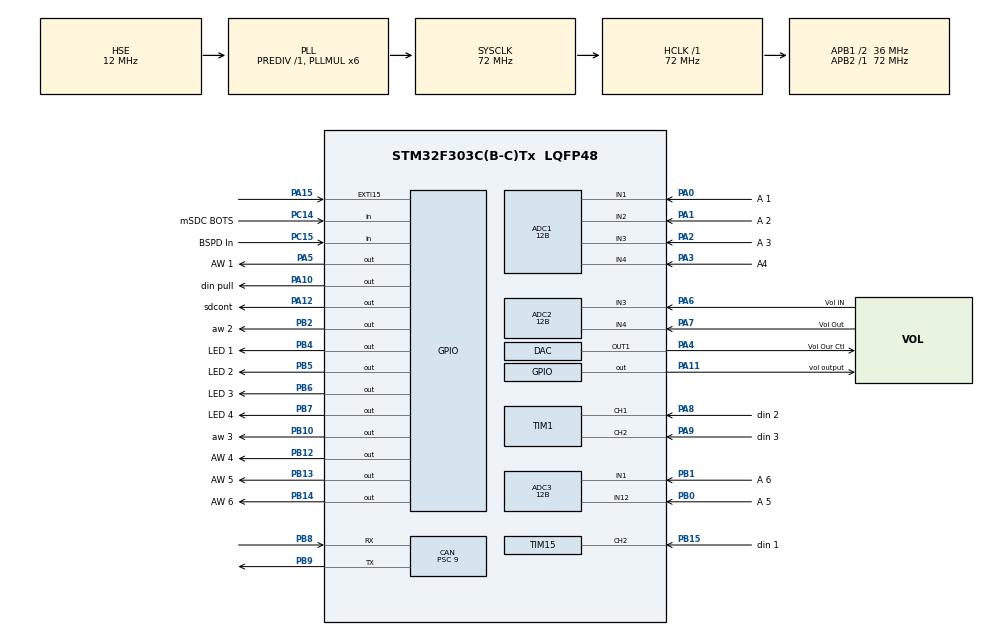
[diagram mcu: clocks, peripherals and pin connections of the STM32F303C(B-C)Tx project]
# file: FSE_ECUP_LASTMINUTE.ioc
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ADC1.Channel-0\#ChannelRegularConversion=ADC_CHANNEL_1
ADC1.Channel-16\#ChannelRegularConversion=ADC_CHANNEL_2
ADC1.Channel-17\#ChannelRegularConversion=ADC_CHANNEL_3
ADC1.Channel-18\#ChannelRegularConversion=ADC_CHANNEL_4
ADC1.Channel-19\#ChannelRegularConversion=ADC_CHANNEL_TEMPSENSOR
ADC1.Channel-20\#ChannelRegularConversion=ADC_CHANNEL_VREFINT
ADC1.ClockPrescaler=ADC_CLOCK_ASYNC_DIV1
ADC1.ContinuousConvMode=DISABLE
ADC1.DMAContinuousRequests=DISABLE
ADC1.DataAlign=ADC_DATAALIGN_RIGHT
ADC1.DiscontinuousConvMode=DISABLE
ADC1.EOCSelection=ADC_EOC_SINGLE_CONV
ADC1.EnableAnalogWatchDog1=false
ADC1.EnableAnalogWatchDog2=false
ADC1.EnableAnalogWatchDog3=false
ADC1.EnableInjectedConversion=ENABLE
ADC1.EnableRegularConversion=ENABLE
ADC1.ExternalTrigConv=ADC_SOFTWARE_START
ADC1.ExternalTrigConvEdge=ADC_EXTERNALTRIGCONVEDGE_NONE
ADC1.InjNumberOfConversion=0
ADC1.LowPowerAutoWait=DISABLE
ADC1.NbrOfConversion=6
ADC1.NbrOfConversionFlag=1
ADC1.Offset-0\#ChannelRegularConversion=0
ADC1.Offset-16\#ChannelRegularConversion=0
ADC1.Offset-17\#ChannelRegularConversion=0
ADC1.Offset-18\#ChannelRegularConversion=0
ADC1.Offset-19\#ChannelRegularConversion=0
ADC1.Offset-20\#ChannelRegularConversion=0
ADC1.OffsetNumber-0\#ChannelRegularConversion=ADC_OFFSET_NONE
ADC1.OffsetNumber-16\#ChannelRegularConversion=ADC_OFFSET_NONE
ADC1.OffsetNumber-17\#ChannelRegularConversion=ADC_OFFSET_NONE
ADC1.OffsetNumber-18\#ChannelRegularConversion=ADC_OFFSET_NONE
ADC1.OffsetNumber-19\#ChannelRegularConversion=ADC_OFFSET_NONE
ADC1.OffsetNumber-20\#ChannelRegularConversion=ADC_OFFSET_NONE
ADC1.Overrun=ADC_OVR_DATA_OVERWRITTEN
ADC1.Rank-0\#ChannelRegularConversion=1
ADC1.Rank-16\#ChannelRegularConversion=2
ADC1.Rank-17\#ChannelRegularConversion=3
ADC1.Rank-18\#ChannelRegularConversion=4
ADC1.Rank-19\#ChannelRegularConversion=5
ADC1.Rank-20\#ChannelRegularConversion=6
ADC1.Resolution=ADC_RESOLUTION_12B
ADC1.SamplingTime-0\#ChannelRegularConversion=ADC_SAMPLETIME_61CYCLES_5
ADC1.SamplingTime-16\#ChannelRegularConversion=ADC_SAMPLETIME_61CYCLES_5
ADC1.SamplingTime-17\#ChannelRegularConversion=ADC_SAMPLETIME_61CYCLES_5
ADC1.SamplingTime-18\#ChannelRegularConversion=ADC_SAMPLETIME_61CYCLES_5
ADC1.SamplingTime-19\#ChannelRegularConversion=ADC_SAMPLETIME_61CYCLES_5
ADC1.SamplingTime-20\#ChannelRegularConversion=ADC_SAMPLETIME_61CYCLES_5
ADC1.ScanConvMode=ADC_SCAN_ENABLE
ADC1.master=1
ADC2.Channel-0\#ChannelRegularConversion=ADC_CHANNEL_3
ADC2.Channel-1\#ChannelRegularConversion=ADC_CHANNEL_4
ADC2.ClockPrescaler=ADC_CLOCK_ASYNC_DIV1
ADC2.ContinuousConvMode=DISABLE
ADC2.DMAContinuousRequests=DISABLE
ADC2.DataAlign=ADC_DATAALIGN_RIGHT
ADC2.DiscontinuousConvMode=DISABLE
ADC2.EOCSelection=ADC_EOC_SINGLE_CONV
ADC2.EnableAnalogWatchDog1=false
ADC2.EnableAnalogWatchDog2=false
ADC2.EnableAnalogWatchDog3=false
ADC2.EnableInjectedConversion=ENABLE
ADC2.EnableRegularConversion=ENABLE
ADC2.ExternalTrigConv=ADC_SOFTWARE_START
ADC2.ExternalTrigConvEdge=ADC_EXTERNALTRIGCONVEDGE_NONE
ADC2.InjNumberOfConversion=0
ADC2.LowPowerAutoWait=DISABLE
ADC2.NbrOfConversion=2
ADC2.NbrOfConversionFlag=1
ADC2.Offset-0\#ChannelRegularConversion=0
ADC2.Offset-1\#ChannelRegularConversion=0
ADC2.OffsetNumber-0\#ChannelRegularConversion=ADC_OFFSET_NONE
ADC2.OffsetNumber-1\#ChannelRegularConversion=ADC_OFFSET_NONE
ADC2.Overrun=ADC_OVR_DATA_OVERWRITTEN
ADC2.Rank-0\#ChannelRegularConversion=1
ADC2.Rank-1\#ChannelRegularConversion=2
ADC2.Resolution=ADC_RESOLUTION_12B
ADC2.SamplingTime-0\#ChannelRegularConversion=ADC_SAMPLETIME_61CYCLES_5
ADC2.SamplingTime-1\#ChannelRegularConversion=ADC_SAMPLETIME_61CYCLES_5
ADC2.ScanConvMode=ADC_SCAN_ENABLE
ADC3.Channel-0\#ChannelRegularConversion=ADC_CHANNEL_1
ADC3.Channel-1\#ChannelRegularConversion=ADC_CHANNEL_12
ADC3.ClockPrescaler=ADC_CLOCK_ASYNC_DIV1
ADC3.ContinuousConvMode=DISABLE
ADC3.DMAContinuousRequests=DISABLE
ADC3.DataAlign=ADC_DATAALIGN_RIGHT
ADC3.DiscontinuousConvMode=DISABLE
ADC3.EOCSelection=ADC_EOC_SINGLE_CONV
ADC3.EnableAnalogWatchDog1=false
ADC3.EnableAnalogWatchDog2=false
ADC3.EnableAnalogWatchDog3=false
ADC3.EnableInjectedConversion=ENABLE
ADC3.EnableRegularConversion=ENABLE
ADC3.ExternalTrigConv=ADC_SOFTWARE_START
ADC3.ExternalTrigConvEdge=ADC_EXTERNALTRIGCONVEDGE_NONE
ADC3.InjNumberOfConversion=0
ADC3.LowPowerAutoWait=DISABLE
ADC3.NbrOfConversion=2
ADC3.NbrOfConversionFlag=1
ADC3.Offset-0\#ChannelRegularConversion=0
ADC3.Offset-1\#ChannelRegularConversion=0
ADC3.OffsetNumber-0\#ChannelRegularConversion=ADC_OFFSET_NONE
ADC3.OffsetNumber-1\#ChannelRegularConversion=ADC_OFFSET_NONE
ADC3.Overrun=ADC_OVR_DATA_OVERWRITTEN
ADC3.Rank-0\#ChannelRegularConversion=1
ADC3.Rank-1\#ChannelRegularConversion=2
ADC3.Resolution=ADC_RESOLUTION_12B
ADC3.SamplingTime-0\#ChannelRegularConversion=ADC_SAMPLETIME_61CYCLES_5
ADC3.SamplingTime-1\#ChannelRegularConversion=ADC_SAMPLETIME_61CYCLES_5
ADC3.ScanConvMode=ADC_SCAN_ENABLE
ADC3.master=1
CAN.ABOM=ENABLE
CAN.BS1=CAN_BS1_6TQ
CAN.CalculateTimeBit=2500
CAN.CalculateTimeQuantum=250.0
CAN.Prescaler=9
Dma.ADC1.1.Direction=DMA_PERIPH_TO_MEMORY
Dma.ADC1.1.Instance=DMA1_Channel1
Dma.ADC1.1.MemDataAlignment=DMA_MDATAALIGN_HALFWORD
Dma.ADC1.1.MemInc=DMA_MINC_ENABLE
Dma.ADC1.1.Mode=DMA_CIRCULAR
Dma.ADC1.1.PeriphDataAlignment=DMA_PDATAALIGN_HALFWORD
Dma.ADC1.1.PeriphInc=DMA_PINC_DISABLE
Dma.ADC1.1.Priority=DMA_PRIORITY_HIGH
Dma.ADC2.2.Direction=DMA_PERIPH_TO_MEMORY
Dma.ADC2.2.Instance=DMA2_Channel1
Dma.ADC2.2.MemDataAlignment=DMA_MDATAALIGN_HALFWORD
Dma.ADC2.2.MemInc=DMA_MINC_ENABLE
Dma.ADC2.2.Mode=DMA_CIRCULAR
Dma.ADC2.2.PeriphDataAlignment=DMA_PDATAALIGN_HALFWORD
Dma.ADC2.2.PeriphInc=DMA_PINC_DISABLE
Dma.ADC2.2.Priority=DMA_PRIORITY_HIGH
Dma.ADC3.0.Direction=DMA_PERIPH_TO_MEMORY
Dma.ADC3.0.Instance=DMA2_Channel5
Dma.ADC3.0.MemDataAlignment=DMA_MDATAALIGN_HALFWORD
Dma.ADC3.0.MemInc=DMA_MINC_ENABLE
Dma.ADC3.0.Mode=DMA_CIRCULAR
Dma.ADC3.0.PeriphDataAlignment=DMA_PDATAALIGN_HALFWORD
Dma.ADC3.0.PeriphInc=DMA_PINC_DISABLE
Dma.ADC3.0.Priority=DMA_PRIORITY_HIGH
Dma.Request0=ADC3
Dma.Request1=ADC1
Dma.Request2=ADC2
Mcu.Family=STM32F3
Mcu.Name=STM32F303C(B-C)Tx
Mcu.Package=LQFP48
NVIC.CAN_RX1_IRQn=true\:0\:0\:false\:false\:true\:true
NVIC.CAN_SCE_IRQn=true\:0\:0\:false\:false\:true\:true
NVIC.DMA1_Channel1_IRQn=true\:0\:0\:false\:false\:true\:false
NVIC.DMA2_Channel1_IRQn=true\:0\:0\:false\:false\:true\:false
NVIC.DMA2_Channel5_IRQn=true\:0\:0\:false\:false\:true\:false
NVIC.EXTI15_10_IRQn=true\:0\:0\:false\:false\:true\:true
NVIC.PriorityGroup=NVIC_PRIORITYGROUP_4
NVIC.USB_HP_CAN_TX_IRQn=true\:0\:0\:false\:false\:true\:true
NVIC.USB_LP_CAN_RX0_IRQn=true\:0\:0\:false\:false\:true\:true
PA0.GPIO_Label=A 1
PA0.Mode=IN1-Single-Ended
PA0.Signal=ADC1_IN1
PA1.GPIO_Label=A 2
PA1.Mode=IN2-Single-Ended
PA1.Signal=ADC1_IN2
PA10.GPIO_Label=din pull
PA10.Signal=GPIO_Output
PA11.GPIO_Label=vol output
PA11.Signal=GPIO_Output
PA12.GPIO_Label=sdcont
PA12.Signal=GPIO_Output
PA13.Mode=Trace_Asynchronous_SW
PA13.Signal=SYS_JTMS-SWDIO
PA14.Mode=Trace_Asynchronous_SW
PA14.Signal=SYS_JTCK-SWCLK
PA15.GPIO_ModeDefaultEXTI=GPIO_MODE_IT_RISING_FALLING
PA15.Signal=GPXTI15
PA2.GPIO_Label=A 3
PA2.Mode=IN3-Single-Ended
PA2.Signal=ADC1_IN3
PA3.GPIO_Label=A4
PA3.Mode=IN4-Single-Ended
PA3.Signal=ADC1_IN4
PA4.GPIO_Label=Vol Our Ctl
PA4.Signal=COMP_DAC1_group
PA5.GPIO_Label=AW 1
PA5.Signal=GPIO_Output
PA6.GPIO_Label=Vol IN
PA6.Mode=IN3-Single-Ended
PA6.Signal=ADC2_IN3
PA7.GPIO_Label=Vol Out
PA7.Mode=IN4-Single-Ended
PA7.Signal=ADC2_IN4
PA8.GPIO_Label=din 2
PA8.GPIO_Speed=GPIO_SPEED_FREQ_LOW
PA8.Signal=S_TIM1_CH1
PA9.GPIO_Label=din 3
PA9.Signal=S_TIM1_CH2
PB0.GPIO_Label=A 5
PB0.Mode=IN12-Single-Ended
PB0.Signal=ADC3_IN12
PB1.GPIO_Label=A 6
PB1.Mode=IN1-Single-Ended
PB1.Signal=ADC3_IN1
PB10.GPIO_Label=aw 3
PB10.Signal=GPIO_Output
PB12.GPIO_Label=AW 4
PB12.Signal=GPIO_Output
PB13.GPIO_Label=AW 5
PB13.Signal=GPIO_Output
PB14.GPIO_Label=AW 6
PB14.Signal=GPIO_Output
PB15.GPIO_Label=din 1
PB15.Signal=S_TIM15_CH2
PB2.GPIO_Label=aw 2
PB2.Signal=GPIO_Output
PB3.GPIO_Label=SWO
PB3.Mode=Trace_Asynchronous_SW
PB3.Signal=SYS_JTDO-TRACESWO
PB4.GPIO_Label=LED 1
PB4.Signal=GPIO_Output
PB5.GPIO_Label=LED 2
PB5.Signal=GPIO_Output
PB6.GPIO_Label=LED 3
PB6.Signal=GPIO_Output
PB7.GPIO_Label=LED 4
PB7.Signal=GPIO_Output
PB8.Mode=Master
PB8.Signal=CAN_RX
PB9.Mode=Master
PB9.Signal=CAN_TX
PC14-OSC32_IN.GPIO_Label=mSDC BOTS
PC14-OSC32_IN.Signal=GPIO_Input
PC15-OSC32_OUT.GPIO_Label=BSPD In
PC15-OSC32_OUT.Signal=GPIO_Input
PF0-OSC_IN.Mode=HSE-External-Oscillator
PF0-OSC_IN.Signal=RCC_OSC_IN
PF1-OSC_OUT.Mode=HSE-External-Oscillator
PF1-OSC_OUT.Signal=RCC_OSC_OUT
ProjectManager.HeapSize=0x200
ProjectManager.StackSize=0x400
ProjectManager.TargetToolchain=MDK-ARM V5
RCC.AHBFreq_Value=72000000
RCC.APB1CLKDivider=RCC_HCLK_DIV2
RCC.APB1Freq_Value=36000000
RCC.APB1TimFreq_Value=72000000
RCC.APB2Freq_Value=72000000
RCC.APB2TimFreq_Value=72000000
RCC.CortexFreq_Value=72000000
RCC.HCLKFreq_Value=72000000
RCC.HSE_VALUE=12000000
RCC.HSI_VALUE=8000000
RCC.LSE_VALUE=32768
RCC.PLLMUL=RCC_PLL_MUL6
RCC.PLLSourceVirtual=RCC_PLLSOURCE_HSE
RCC.SYSCLKFreq_VALUE=72000000
RCC.SYSCLKSourceVirtual=RCC_SYSCLKSOURCE_PLLCLK
RCC.USBFreq_Value=72000000
SH.COMP_DAC1_group.0=DAC_OUT1,DAC_OUT1
SH.S_TIM15_CH2.0=TIM15_CH2,Input_Capture2_from_TI2
SH.S_TIM15_CH2.1=TIM15_CH2,Input_Capture1_from_TI2
SH.S_TIM15_CH2.2=TIM15_CH2,TriggerSource_TI2FP2
SH.S_TIM1_CH1.0=TIM1_CH1,Input_Capture1_from_TI1
SH.S_TIM1_CH1.1=TIM1_CH1,TriggerSource_TI1FP1
SH.S_TIM1_CH2.0=TIM1_CH2,Input_Capture2_from_TI2
TIM1.Channel-Input_Capture1_from_TI1=TIM_CHANNEL_1
TIM1.Channel-Input_Capture2_from_TI2=TIM_CHANNEL_2
TIM15.Channel-Input_Capture1_from_TI2=TIM_CHANNEL_1
TIM15.Channel-Input_Capture2_from_TI2=TIM_CHANNEL_2
TIM16.Period=0xFFFF
TIM16.Prescaler=8
VP_ADC1_TempSens_Input.Mode=IN-TempSens
VP_ADC1_Vref_Input.Mode=IN-Vrefint
VP_TIM15_VS_ClockSourceINT.Mode=Internal
VP_TIM15_VS_ControllerModeReset.Mode=Reset Mode
VP_TIM16_VS_ClockSourceINT.Mode=Enable_Timer
VP_TIM1_VS_ClockSourceINT.Mode=Internal
VP_TIM1_VS_ControllerModeReset.Mode=Reset Mode
VP_TIM2_VS_ClockSourceINT.Mode=Internal
board=custom

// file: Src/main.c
/**
  ******************************************************************************
  * @file           : main.c
  * @brief          : Main program body
  ******************************************************************************
  ** This notice applies to any and all portions of this file
  * that are not between comment pairs USER CODE BEGIN and
  * USER CODE END. Other portions of this file, whether
  * inserted by the user or by software development tools
  * are owned by their respective copyright owners.
  *
  * COPYRIGHT(c) 2018 STMicroelectronics
  *
  * Redistribution and use in source and binary forms, with or without modification,
  * are permitted provided that the following conditions are met:
  *   1. Redistributions of source code must retain the above copyright notice,
  *      this list of conditions and the following disclaimer.
  *   2. Redistributions in binary form must reproduce the above copyright notice,
  *      this list of conditions and the following disclaimer in the documentation
  *      and/or other materials provided with the distribution.
  *   3. Neither the name of STMicroelectronics nor the names of its contributors
  *      may be used to endorse or promote products derived from this software
  *      without specific prior written permission.
  *
  * THIS SOFTWARE IS PROVIDED BY THE COPYRIGHT HOLDERS AND CONTRIBUTORS "AS IS"
  * AND ANY EXPRESS OR IMPLIED WARRANTIES, INCLUDING, BUT NOT LIMITED TO, THE
  * IMPLIED WARRANTIES OF MERCHANTABILITY AND FITNESS FOR A PARTICULAR PURPOSE ARE
  * DISCLAIMED. IN NO EVENT SHALL THE COPYRIGHT HOLDER OR CONTRIBUTORS BE LIABLE
  * FOR ANY DIRECT, INDIRECT, INCIDENTAL, SPECIAL, EXEMPLARY, OR CONSEQUENTIAL
  * DAMAGES (INCLUDING, BUT NOT LIMITED TO, PROCUREMENT OF SUBSTITUTE GOODS OR
  * SERVICES; LOSS OF USE, DATA, OR PROFITS; OR BUSINESS INTERRUPTION) HOWEVER
  * CAUSED AND ON ANY THEORY OF LIABILITY, WHETHER IN CONTRACT, STRICT LIABILITY,
  * OR TORT (INCLUDING NEGLIGENCE OR OTHERWISE) ARISING IN ANY WAY OUT OF THE USE
  * OF THIS SOFTWARE, EVEN IF ADVISED OF THE POSSIBILITY OF SUCH DAMAGE.
  *
  ******************************************************************************
  */
#include "main.h"
#include "stm32f3xx_hal.h"

/* USER CODE BEGIN Includes */
#include "ADC.h"
#include "can_eforce_init.h"
#include "stm32f3xx_hal_def.h"
/* USER CODE END Includes */

ADC_HandleTypeDef hadc1;
ADC_HandleTypeDef hadc2;
ADC_HandleTypeDef hadc3;
DMA_HandleTypeDef hdma_adc1;
DMA_HandleTypeDef hdma_adc2;
DMA_HandleTypeDef hdma_adc3;

CAN_HandleTypeDef hcan;

DAC_HandleTypeDef hdac;

TIM_HandleTypeDef htim1;
TIM_HandleTypeDef htim2;
TIM_HandleTypeDef htim15;
TIM_HandleTypeDef htim16;

/* USER CODE BEGIN PV */
/* Private variables ---------------------------------------------------------*/
CanRxMsgTypeDef canRxMsg;

/* USER CODE END PV */

void SystemClock_Config(void);
static void MX_GPIO_Init(void);
static void MX_DMA_Init(void);
static void MX_ADC1_Init(void);
static void MX_ADC2_Init(void);
static void MX_ADC3_Init(void);
static void MX_CAN_Init(void);
static void MX_DAC_Init(void);
static void MX_TIM1_Init(void);
static void MX_TIM2_Init(void);
static void MX_TIM15_Init(void);
static void MX_TIM16_Init(void);

/* USER CODE BEGIN PFP */
/* Private function prototypes -----------------------------------------------*/

/* USER CODE END PFP */

/* USER CODE BEGIN 0 */
/*
void HAL_CAN_RxCpltCallback(CAN_HandleTypeDef *hcan){
	HAL_GPIO_TogglePin(LED_1_GPIO_Port,LED_1_Pin);
	txReceiveCANMessage(canRxMsg.StdId,&canRxMsg.Data,canRxMsg.DLC);

	__HAL_CAN_FIFO_RELEASE(hcan,CAN_FIFO0);
	HAL_CAN_Receive_IT(hcan,CAN_FIFO0);
}
*/
/* USER CODE END 0 */

int main(void)
{

  /* MCU Configuration----------------------------------------------------------*/

  /* Reset of all peripherals, Initializes the Flash interface and the Systick. */
  HAL_Init();

  /* Configure the system clock */
  SystemClock_Config();

  /* Initialize all configured peripherals */
  MX_GPIO_Init();
  MX_DMA_Init();
  MX_ADC1_Init();
  MX_ADC2_Init();
  MX_ADC3_Init();
  MX_CAN_Init();
  MX_DAC_Init();
  MX_TIM1_Init();
  MX_TIM2_Init();
  MX_TIM15_Init();
  MX_TIM16_Init();
  /* USER CODE BEGIN 2 */
	CAN_eforce(&hcan,CAN,&canRxMsg);
	calib_init();
	HAL_GPIO_WritePin(sdcont_GPIO_Port,sdcont_Pin,GPIO_PIN_SET);
	txInit();
	candbInit();
  /* USER CODE END 2 */

  /* Infinite loop */
  /* USER CODE BEGIN WHILE */
  while (1)
  {
		/*while (HAL_CAN_Receive(&hcan, CAN_FIFO0,0) == HAL_OK){
		//HAL_GPIO_TogglePin(LED_1_GPIO_Port,LED_1_Pin);
		txReceiveCANMessage(canRxMsg.StdId,&canRxMsg.Data,canRxMsg.DLC);
		}*/
		HAL_CAN_Receive_IT(&hcan,CAN_FIFO0);
		start_ADC(&hadc1,1);
		start_ADC(&hadc2,2);
		start_ADC(&hadc3,3);
		txProcess();
		Pedals_process(&hcan);
  /* USER CODE END WHILE */

  }

}

void SystemClock_Config(void)
{

  RCC_OscInitTypeDef RCC_OscInitStruct;
  RCC_ClkInitTypeDef RCC_ClkInitStruct;
  RCC_PeriphCLKInitTypeDef PeriphClkInit;

    /**Initializes the CPU, AHB and APB busses clocks
    */
  RCC_OscInitStruct.OscillatorType = RCC_OSCILLATORTYPE_HSE;
  RCC_OscInitStruct.HSEState = RCC_HSE_ON;
  RCC_OscInitStruct.HSEPredivValue = RCC_HSE_PREDIV_DIV1;
  RCC_OscInitStruct.HSIState = RCC_HSI_ON;
  RCC_OscInitStruct.PLL.PLLState = RCC_PLL_ON;
  RCC_OscInitStruct.PLL.PLLSource = RCC_PLLSOURCE_HSE;
  RCC_OscInitStruct.PLL.PLLMUL = RCC_PLL_MUL6;
  if (HAL_RCC_OscConfig(&RCC_OscInitStruct) != HAL_OK)
  {
    _Error_Handler(__FILE__, __LINE__);
  }

    /**Initializes the CPU, AHB and APB busses clocks
    */
  RCC_ClkInitStruct.ClockType = RCC_CLOCKTYPE_HCLK|RCC_CLOCKTYPE_SYSCLK
                              |RCC_CLOCKTYPE_PCLK1|RCC_CLOCKTYPE_PCLK2;
  RCC_ClkInitStruct.SYSCLKSource = RCC_SYSCLKSOURCE_PLLCLK;
  RCC_ClkInitStruct.AHBCLKDivider = RCC_SYSCLK_DIV1;
  RCC_ClkInitStruct.APB1CLKDivider = RCC_HCLK_DIV2;
  RCC_ClkInitStruct.APB2CLKDivider = RCC_HCLK_DIV1;

  if (HAL_RCC_ClockConfig(&RCC_ClkInitStruct, FLASH_LATENCY_2) != HAL_OK)
  {
    _Error_Handler(__FILE__, __LINE__);
  }

  PeriphClkInit.PeriphClockSelection = RCC_PERIPHCLK_TIM1|RCC_PERIPHCLK_ADC12
                              |RCC_PERIPHCLK_ADC34;
  PeriphClkInit.Adc12ClockSelection = RCC_ADC12PLLCLK_DIV1;
  PeriphClkInit.Adc34ClockSelection = RCC_ADC34PLLCLK_DIV1;
  PeriphClkInit.Tim1ClockSelection = RCC_TIM1CLK_HCLK;
  if (HAL_RCCEx_PeriphCLKConfig(&PeriphClkInit) != HAL_OK)
  {
    _Error_Handler(__FILE__, __LINE__);
  }

    /**Configure the Systick interrupt time
    */
  HAL_SYSTICK_Config(HAL_RCC_GetHCLKFreq()/1000);

    /**Configure the Systick
    */
  HAL_SYSTICK_CLKSourceConfig(SYSTICK_CLKSOURCE_HCLK);

  /* SysTick_IRQn interrupt configuration */
  HAL_NVIC_SetPriority(SysTick_IRQn, 0, 0);
}

/* ADC1 init function */
static void MX_ADC1_Init(void)
{

  ADC_MultiModeTypeDef multimode;
  ADC_ChannelConfTypeDef sConfig;

    /**Common config
    */
  hadc1.Instance = ADC1;
  hadc1.Init.ClockPrescaler = ADC_CLOCK_ASYNC_DIV1;
  hadc1.Init.Resolution = ADC_RESOLUTION_12B;
  hadc1.Init.ScanConvMode = ADC_SCAN_ENABLE;
  hadc1.Init.ContinuousConvMode = DISABLE;
  hadc1.Init.DiscontinuousConvMode = DISABLE;
  hadc1.Init.ExternalTrigConvEdge = ADC_EXTERNALTRIGCONVEDGE_NONE;
  hadc1.Init.ExternalTrigConv = ADC_SOFTWARE_START;
  hadc1.Init.DataAlign = ADC_DATAALIGN_RIGHT;
  hadc1.Init.NbrOfConversion = 6;
  hadc1.Init.DMAContinuousRequests = DISABLE;
  hadc1.Init.EOCSelection = ADC_EOC_SINGLE_CONV;
  hadc1.Init.LowPowerAutoWait = DISABLE;
  hadc1.Init.Overrun = ADC_OVR_DATA_OVERWRITTEN;
  if (HAL_ADC_Init(&hadc1) != HAL_OK)
  {
    _Error_Handler(__FILE__, __LINE__);
  }

    /**Configure the ADC multi-mode
    */
  multimode.Mode = ADC_MODE_INDEPENDENT;
  if (HAL_ADCEx_MultiModeConfigChannel(&hadc1, &multimode) != HAL_OK)
  {
    _Error_Handler(__FILE__, __LINE__);
  }

    /**Configure Regular Channel
    */
  sConfig.Channel = ADC_CHANNEL_1;
  sConfig.Rank = ADC_REGULAR_RANK_1;
  sConfig.SingleDiff = ADC_SINGLE_ENDED;
  sConfig.SamplingTime = ADC_SAMPLETIME_61CYCLES_5;
  sConfig.OffsetNumber = ADC_OFFSET_NONE;
  sConfig.Offset = 0;
  if (HAL_ADC_ConfigChannel(&hadc1, &sConfig) != HAL_OK)
  {
    _Error_Handler(__FILE__, __LINE__);
  }

    /**Configure Regular Channel
    */
  sConfig.Channel = ADC_CHANNEL_2;
  sConfig.Rank = ADC_REGULAR_RANK_2;
  if (HAL_ADC_ConfigChannel(&hadc1, &sConfig) != HAL_OK)
  {
    _Error_Handler(__FILE__, __LINE__);
  }

    /**Configure Regular Channel
    */
  sConfig.Channel = ADC_CHANNEL_3;
  sConfig.Rank = ADC_REGULAR_RANK_3;
  if (HAL_ADC_ConfigChannel(&hadc1, &sConfig) != HAL_OK)
  {
    _Error_Handler(__FILE__, __LINE__);
  }

    /**Configure Regular Channel
    */
  sConfig.Channel = ADC_CHANNEL_4;
  sConfig.Rank = ADC_REGULAR_RANK_4;
  if (HAL_ADC_ConfigChannel(&hadc1, &sConfig) != HAL_OK)
  {
    _Error_Handler(__FILE__, __LINE__);
  }

    /**Configure Regular Channel
    */
  sConfig.Channel = ADC_CHANNEL_TEMPSENSOR;
  sConfig.Rank = ADC_REGULAR_RANK_5;
  if (HAL_ADC_ConfigChannel(&hadc1, &sConfig) != HAL_OK)
  {
    _Error_Handler(__FILE__, __LINE__);
  }

    /**Configure Regular Channel
    */
  sConfig.Channel = ADC_CHANNEL_VREFINT;
  sConfig.Rank = ADC_REGULAR_RANK_6;
  if (HAL_ADC_ConfigChannel(&hadc1, &sConfig) != HAL_OK)
  {
    _Error_Handler(__FILE__, __LINE__);
  }

}

/* ADC2 init function */
static void MX_ADC2_Init(void)
{

  ADC_ChannelConfTypeDef sConfig;

    /**Common config
    */
  hadc2.Instance = ADC2;
  hadc2.Init.ClockPrescaler = ADC_CLOCK_ASYNC_DIV1;
  hadc2.Init.Resolution = ADC_RESOLUTION_12B;
  hadc2.Init.ScanConvMode = ADC_SCAN_ENABLE;
  hadc2.Init.ContinuousConvMode = DISABLE;
  hadc2.Init.DiscontinuousConvMode = DISABLE;
  hadc2.Init.ExternalTrigConvEdge = ADC_EXTERNALTRIGCONVEDGE_NONE;
  hadc2.Init.ExternalTrigConv = ADC_SOFTWARE_START;
  hadc2.Init.DataAlign = ADC_DATAALIGN_RIGHT;
  hadc2.Init.NbrOfConversion = 2;
  hadc2.Init.DMAContinuousRequests = DISABLE;
  hadc2.Init.EOCSelection = ADC_EOC_SINGLE_CONV;
  hadc2.Init.LowPowerAutoWait = DISABLE;
  hadc2.Init.Overrun = ADC_OVR_DATA_OVERWRITTEN;
  if (HAL_ADC_Init(&hadc2) != HAL_OK)
  {
    _Error_Handler(__FILE__, __LINE__);
  }

    /**Configure Regular Channel
    */
  sConfig.Channel = ADC_CHANNEL_3;
  sConfig.Rank = ADC_REGULAR_RANK_1;
  sConfig.SingleDiff = ADC_SINGLE_ENDED;
  sConfig.SamplingTime = ADC_SAMPLETIME_61CYCLES_5;
  sConfig.OffsetNumber = ADC_OFFSET_NONE;
  sConfig.Offset = 0;
  if (HAL_ADC_ConfigChannel(&hadc2, &sConfig) != HAL_OK)
  {
    _Error_Handler(__FILE__, __LINE__);
  }

    /**Configure Regular Channel
    */
  sConfig.Channel = ADC_CHANNEL_4;
  sConfig.Rank = ADC_REGULAR_RANK_2;
  if (HAL_ADC_ConfigChannel(&hadc2, &sConfig) != HAL_OK)
  {
    _Error_Handler(__FILE__, __LINE__);
  }

}

/* ADC3 init function */
static void MX_ADC3_Init(void)
{

  ADC_MultiModeTypeDef multimode;
  ADC_ChannelConfTypeDef sConfig;

    /**Common config
    */
  hadc3.Instance = ADC3;
  hadc3.Init.ClockPrescaler = ADC_CLOCK_ASYNC_DIV1;
  hadc3.Init.Resolution = ADC_RESOLUTION_12B;
  hadc3.Init.ScanConvMode = ADC_SCAN_ENABLE;
  hadc3.Init.ContinuousConvMode = DISABLE;
  hadc3.Init.DiscontinuousConvMode = DISABLE;
  hadc3.Init.ExternalTrigConvEdge = ADC_EXTERNALTRIGCONVEDGE_NONE;
  hadc3.Init.ExternalTrigConv = ADC_SOFTWARE_START;
  hadc3.Init.DataAlign = ADC_DATAALIGN_RIGHT;
  hadc3.Init.NbrOfConversion = 2;
  hadc3.Init.DMAContinuousRequests = DISABLE;
  hadc3.Init.EOCSelection = ADC_EOC_SINGLE_CONV;
  hadc3.Init.LowPowerAutoWait = DISABLE;
  hadc3.Init.Overrun = ADC_OVR_DATA_OVERWRITTEN;
  if (HAL_ADC_Init(&hadc3) != HAL_OK)
  {
    _Error_Handler(__FILE__, __LINE__);
  }

    /**Configure the ADC multi-mode
    */
  multimode.Mode = ADC_MODE_INDEPENDENT;
  if (HAL_ADCEx_MultiModeConfigChannel(&hadc3, &multimode) != HAL_OK)
  {
    _Error_Handler(__FILE__, __LINE__);
  }

    /**Configure Regular Channel
    */
  sConfig.Channel = ADC_CHANNEL_1;
  sConfig.Rank = ADC_REGULAR_RANK_1;
  sConfig.SingleDiff = ADC_SINGLE_ENDED;
  sConfig.SamplingTime = ADC_SAMPLETIME_61CYCLES_5;
  sConfig.OffsetNumber = ADC_OFFSET_NONE;
  sConfig.Offset = 0;
  if (HAL_ADC_ConfigChannel(&hadc3, &sConfig) != HAL_OK)
  {
    _Error_Handler(__FILE__, __LINE__);
  }

    /**Configure Regular Channel
    */
  sConfig.Channel = ADC_CHANNEL_12;
  sConfig.Rank = ADC_REGULAR_RANK_2;
  if (HAL_ADC_ConfigChannel(&hadc3, &sConfig) != HAL_OK)
  {
    _Error_Handler(__FILE__, __LINE__);
  }

}

/* CAN init function */
static void MX_CAN_Init(void)
{

  hcan.Instance = CAN;
  hcan.Init.Prescaler = 9;
  hcan.Init.Mode = CAN_MODE_NORMAL;
  hcan.Init.SJW = CAN_SJW_1TQ;
  hcan.Init.BS1 = CAN_BS1_6TQ;
  hcan.Init.BS2 = CAN_BS2_1TQ;
  hcan.Init.TTCM = DISABLE;
  hcan.Init.ABOM = ENABLE;
  hcan.Init.AWUM = DISABLE;
  hcan.Init.NART = DISABLE;
  hcan.Init.RFLM = DISABLE;
  hcan.Init.TXFP = DISABLE;
  if (HAL_CAN_Init(&hcan) != HAL_OK)
  {
    _Error_Handler(__FILE__, __LINE__);
  }

}

/* DAC init function */
static void MX_DAC_Init(void)
{

  DAC_ChannelConfTypeDef sConfig;

    /**DAC Initialization
    */
  hdac.Instance = DAC;
  if (HAL_DAC_Init(&hdac) != HAL_OK)
  {
    _Error_Handler(__FILE__, __LINE__);
  }

    /**DAC channel OUT1 config
    */
  sConfig.DAC_Trigger = DAC_TRIGGER_NONE;
  sConfig.DAC_OutputBuffer = DAC_OUTPUTBUFFER_ENABLE;
  if (HAL_DAC_ConfigChannel(&hdac, &sConfig, DAC_CHANNEL_1) != HAL_OK)
  {
    _Error_Handler(__FILE__, __LINE__);
  }

}

/* TIM1 init function */
static void MX_TIM1_Init(void)
{

  TIM_ClockConfigTypeDef sClockSourceConfig;
  TIM_SlaveConfigTypeDef sSlaveConfig;
  TIM_MasterConfigTypeDef sMasterConfig;
  TIM_IC_InitTypeDef sConfigIC;

  htim1.Instance = TIM1;
  htim1.Init.Prescaler = 0;
  htim1.Init.CounterMode = TIM_COUNTERMODE_UP;
  htim1.Init.Period = 0;
  htim1.Init.ClockDivision = TIM_CLOCKDIVISION_DIV1;
  htim1.Init.RepetitionCounter = 0;
  htim1.Init.AutoReloadPreload = TIM_AUTORELOAD_PRELOAD_DISABLE;
  if (HAL_TIM_Base_Init(&htim1) != HAL_OK)
  {
    _Error_Handler(__FILE__, __LINE__);
  }

  sClockSourceConfig.ClockSource = TIM_CLOCKSOURCE_INTERNAL;
  if (HAL_TIM_ConfigClockSource(&htim1, &sClockSourceConfig) != HAL_OK)
  {
    _Error_Handler(__FILE__, __LINE__);
  }

  if (HAL_TIM_IC_Init(&htim1) != HAL_OK)
  {
    _Error_Handler(__FILE__, __LINE__);
  }

  sSlaveConfig.SlaveMode = TIM_SLAVEMODE_RESET;
  sSlaveConfig.InputTrigger = TIM_TS_TI1FP1;
  sSlaveConfig.TriggerPolarity = TIM_INPUTCHANNELPOLARITY_RISING;
  sSlaveConfig.TriggerFilter = 0;
  if (HAL_TIM_SlaveConfigSynchronization(&htim1, &sSlaveConfig) != HAL_OK)
  {
    _Error_Handler(__FILE__, __LINE__);
  }

  sMasterConfig.MasterOutputTrigger = TIM_TRGO_RESET;
  sMasterConfig.MasterOutputTrigger2 = TIM_TRGO2_RESET;
  sMasterConfig.MasterSlaveMode = TIM_MASTERSLAVEMODE_DISABLE;
  if (HAL_TIMEx_MasterConfigSynchronization(&htim1, &sMasterConfig) != HAL_OK)
  {
    _Error_Handler(__FILE__, __LINE__);
  }

  sConfigIC.ICPolarity = TIM_INPUTCHANNELPOLARITY_RISING;
  sConfigIC.ICSelection = TIM_ICSELECTION_DIRECTTI;
  sConfigIC.ICPrescaler = TIM_ICPSC_DIV1;
  sConfigIC.ICFilter = 0;
  if (HAL_TIM_IC_ConfigChannel(&htim1, &sConfigIC, TIM_CHANNEL_1) != HAL_OK)
  {
    _Error_Handler(__FILE__, __LINE__);
  }

  if (HAL_TIM_IC_ConfigChannel(&htim1, &sConfigIC, TIM_CHANNEL_2) != HAL_OK)
  {
    _Error_Handler(__FILE__, __LINE__);
  }

}

/* TIM2 init function */
static void MX_TIM2_Init(void)
{

  TIM_ClockConfigTypeDef sClockSourceConfig;
  TIM_MasterConfigTypeDef sMasterConfig;

  htim2.Instance = TIM2;
  htim2.Init.Prescaler = 0;
  htim2.Init.CounterMode = TIM_COUNTERMODE_UP;
  htim2.Init.Period = 0;
  htim2.Init.ClockDivision = TIM_CLOCKDIVISION_DIV1;
  htim2.Init.AutoReloadPreload = TIM_AUTORELOAD_PRELOAD_DISABLE;
  if (HAL_TIM_Base_Init(&htim2) != HAL_OK)
  {
    _Error_Handler(__FILE__, __LINE__);
  }

  sClockSourceConfig.ClockSource = TIM_CLOCKSOURCE_INTERNAL;
  if (HAL_TIM_ConfigClockSource(&htim2, &sClockSourceConfig) != HAL_OK)
  {
    _Error_Handler(__FILE__, __LINE__);
  }

  sMasterConfig.MasterOutputTrigger = TIM_TRGO_RESET;
  sMasterConfig.MasterSlaveMode = TIM_MASTERSLAVEMODE_DISABLE;
  if (HAL_TIMEx_MasterConfigSynchronization(&htim2, &sMasterConfig) != HAL_OK)
  {
    _Error_Handler(__FILE__, __LINE__);
  }

}

/* TIM15 init function */
static void MX_TIM15_Init(void)
{

  TIM_ClockConfigTypeDef sClockSourceConfig;
  TIM_SlaveConfigTypeDef sSlaveConfig;
  TIM_MasterConfigTypeDef sMasterConfig;
  TIM_IC_InitTypeDef sConfigIC;

  htim15.Instance = TIM15;
  htim15.Init.Prescaler = 0;
  htim15.Init.CounterMode = TIM_COUNTERMODE_UP;
  htim15.Init.Period = 0;
  htim15.Init.ClockDivision = TIM_CLOCKDIVISION_DIV1;
  htim15.Init.RepetitionCounter = 0;
  htim15.Init.AutoReloadPreload = TIM_AUTORELOAD_PRELOAD_DISABLE;
  if (HAL_TIM_Base_Init(&htim15) != HAL_OK)
  {
    _Error_Handler(__FILE__, __LINE__);
  }

  sClockSourceConfig.ClockSource = TIM_CLOCKSOURCE_INTERNAL;
  if (HAL_TIM_ConfigClockSource(&htim15, &sClockSourceConfig) != HAL_OK)
  {
    _Error_Handler(__FILE__, __LINE__);
  }

  if (HAL_TIM_IC_Init(&htim15) != HAL_OK)
  {
    _Error_Handler(__FILE__, __LINE__);
  }

  sSlaveConfig.SlaveMode = TIM_SLAVEMODE_RESET;
  sSlaveConfig.InputTrigger = TIM_TS_TI2FP2;
  sSlaveConfig.TriggerPolarity = TIM_INPUTCHANNELPOLARITY_RISING;
  sSlaveConfig.TriggerFilter = 0;
  if (HAL_TIM_SlaveConfigSynchronization(&htim15, &sSlaveConfig) != HAL_OK)
  {
    _Error_Handler(__FILE__, __LINE__);
  }

  sMasterConfig.MasterOutputTrigger = TIM_TRGO_RESET;
  sMasterConfig.MasterSlaveMode = TIM_MASTERSLAVEMODE_DISABLE;
  if (HAL_TIMEx_MasterConfigSynchronization(&htim15, &sMasterConfig) != HAL_OK)
  {
    _Error_Handler(__FILE__, __LINE__);
  }

  sConfigIC.ICPolarity = TIM_INPUTCHANNELPOLARITY_RISING;
  sConfigIC.ICSelection = TIM_ICSELECTION_INDIRECTTI;
  sConfigIC.ICPrescaler = TIM_ICPSC_DIV1;
  sConfigIC.ICFilter = 0;
  if (HAL_TIM_IC_ConfigChannel(&htim15, &sConfigIC, TIM_CHANNEL_1) != HAL_OK)
  {
    _Error_Handler(__FILE__, __LINE__);
  }

  sConfigIC.ICSelection = TIM_ICSELECTION_DIRECTTI;
  if (HAL_TIM_IC_ConfigChannel(&htim15, &sConfigIC, TIM_CHANNEL_2) != HAL_OK)
  {
    _Error_Handler(__FILE__, __LINE__);
  }

}

/* TIM16 init function */
static void MX_TIM16_Init(void)
{

  htim16.Instance = TIM16;
  htim16.Init.Prescaler = 8;
  htim16.Init.CounterMode = TIM_COUNTERMODE_UP;
  htim16.Init.Period = 0xFFFF;
  htim16.Init.ClockDivision = TIM_CLOCKDIVISION_DIV1;
  htim16.Init.RepetitionCounter = 0;
  htim16.Init.AutoReloadPreload = TIM_AUTORELOAD_PRELOAD_DISABLE;
  if (HAL_TIM_Base_Init(&htim16) != HAL_OK)
  {
    _Error_Handler(__FILE__, __LINE__);
  }

}

static void MX_DMA_Init(void)
{
  /* DMA controller clock enable */
  __HAL_RCC_DMA2_CLK_ENABLE();
  __HAL_RCC_DMA1_CLK_ENABLE();

  /* DMA interrupt init */
  /* DMA1_Channel1_IRQn interrupt configuration */
  HAL_NVIC_SetPriority(DMA1_Channel1_IRQn, 0, 0);
  HAL_NVIC_EnableIRQ(DMA1_Channel1_IRQn);
  /* DMA2_Channel1_IRQn interrupt configuration */
  HAL_NVIC_SetPriority(DMA2_Channel1_IRQn, 0, 0);
  HAL_NVIC_EnableIRQ(DMA2_Channel1_IRQn);
  /* DMA2_Channel5_IRQn interrupt configuration */
  HAL_NVIC_SetPriority(DMA2_Channel5_IRQn, 0, 0);
  HAL_NVIC_EnableIRQ(DMA2_Channel5_IRQn);

}

/** Configure pins as
        * Analog
        * Input
        * Output
        * EVENT_OUT
        * EXTI
*/
static void MX_GPIO_Init(void)
{

  GPIO_InitTypeDef GPIO_InitStruct;

  /* GPIO Ports Clock Enable */
  __HAL_RCC_GPIOC_CLK_ENABLE();
  __HAL_RCC_GPIOF_CLK_ENABLE();
  __HAL_RCC_GPIOA_CLK_ENABLE();
  __HAL_RCC_GPIOB_CLK_ENABLE();

  /*Configure GPIO pin Output Level */
  HAL_GPIO_WritePin(GPIOA, AW_1_Pin|din_pull_Pin|vol_output_Pin|sdcont_Pin, GPIO_PIN_RESET);

  /*Configure GPIO pin Output Level */
  HAL_GPIO_WritePin(GPIOB, aw_2_Pin|aw_3_Pin|AW_4_Pin|AW_5_Pin
                          |AW_6_Pin|LED_1_Pin|LED_2_Pin|LED_3_Pin
                          |LED_4_Pin, GPIO_PIN_RESET);

  /*Configure GPIO pins : mSDC_BOTS_Pin BSPD_In_Pin */
  GPIO_InitStruct.Pin = mSDC_BOTS_Pin|BSPD_In_Pin;
  GPIO_InitStruct.Mode = GPIO_MODE_INPUT;
  GPIO_InitStruct.Pull = GPIO_NOPULL;
  HAL_GPIO_Init(GPIOC, &GPIO_InitStruct);

  /*Configure GPIO pins : AW_1_Pin din_pull_Pin vol_output_Pin sdcont_Pin */
  GPIO_InitStruct.Pin = AW_1_Pin|din_pull_Pin|vol_output_Pin|sdcont_Pin;
  GPIO_InitStruct.Mode = GPIO_MODE_OUTPUT_PP;
  GPIO_InitStruct.Pull = GPIO_NOPULL;
  GPIO_InitStruct.Speed = GPIO_SPEED_FREQ_LOW;
  HAL_GPIO_Init(GPIOA, &GPIO_InitStruct);

  /*Configure GPIO pins : aw_2_Pin aw_3_Pin AW_4_Pin AW_5_Pin
                           AW_6_Pin LED_1_Pin LED_2_Pin LED_3_Pin
                           LED_4_Pin */
  GPIO_InitStruct.Pin = aw_2_Pin|aw_3_Pin|AW_4_Pin|AW_5_Pin
                          |AW_6_Pin|LED_1_Pin|LED_2_Pin|LED_3_Pin
                          |LED_4_Pin;
  GPIO_InitStruct.Mode = GPIO_MODE_OUTPUT_PP;
  GPIO_InitStruct.Pull = GPIO_NOPULL;
  GPIO_InitStruct.Speed = GPIO_SPEED_FREQ_LOW;
  HAL_GPIO_Init(GPIOB, &GPIO_InitStruct);

  /*Configure GPIO pin : PA15 */
  GPIO_InitStruct.Pin = GPIO_PIN_15;
  GPIO_InitStruct.Mode = GPIO_MODE_IT_RISING_FALLING;
  GPIO_InitStruct.Pull = GPIO_NOPULL;
  HAL_GPIO_Init(GPIOA, &GPIO_InitStruct);

  /* EXTI interrupt init*/
  HAL_NVIC_SetPriority(EXTI15_10_IRQn, 0, 0);
  HAL_NVIC_EnableIRQ(EXTI15_10_IRQn);

}

void _Error_Handler(char *file, int line)
{
  while(1)
  {
  }
}

/************************ (C) COPYRIGHT STMicroelectronics *****END OF FILE****/
